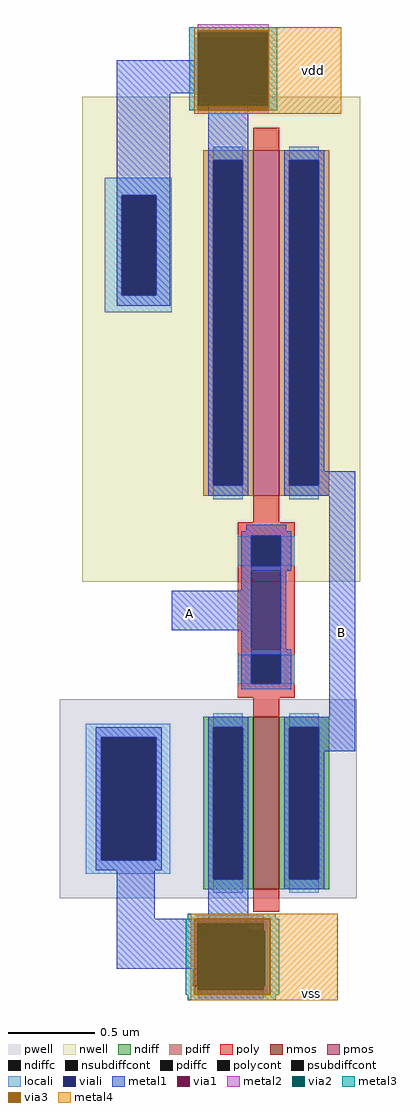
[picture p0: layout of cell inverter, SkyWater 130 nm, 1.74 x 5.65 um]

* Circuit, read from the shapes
.subckt inverter vdd A B vss
XM1 B A vss vss sky130_fd_pr__nfet_01v8 w=1 l=0.15
XM2 B A vdd vdd sky130_fd_pr__pfet_01v8 w=2 l=0.15
.ends

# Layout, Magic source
magic
tech sky130A
magscale 1 2
<< nwell >>
rect -596 2790 -482 2850
rect -596 2590 -474 2790
rect -596 2288 -482 2590
<< pwell >>
rect -622 1922 -278 2152
<< psubdiffcont >>
rect -574 1966 -510 2108
<< nsubdiffcont >>
rect -550 2620 -510 2736
<< poly >>
rect -416 2220 -350 2296
<< locali >>
rect -570 2736 -492 2756
rect -570 2620 -550 2736
rect -510 2620 -492 2736
rect -570 2600 -492 2620
rect -592 2108 -494 2124
rect -592 1966 -574 2108
rect -510 1966 -494 2108
rect -592 1950 -494 1966
<< viali >>
rect -550 2620 -510 2736
rect -400 2170 -366 2342
rect -574 1966 -510 2108
<< metal1 >>
rect -466 2892 -456 2918
rect -556 2854 -456 2892
rect -556 2736 -494 2854
rect -466 2852 -456 2854
rect -392 2852 -382 2918
rect -450 2788 -404 2852
rect -556 2620 -550 2736
rect -510 2620 -494 2736
rect -556 2608 -494 2620
rect -316 2388 -280 2416
rect -406 2342 -360 2354
rect -406 2302 -400 2342
rect -412 2278 -400 2302
rect -492 2232 -400 2278
rect -412 2210 -400 2232
rect -406 2170 -400 2210
rect -366 2170 -360 2342
rect -406 2164 -360 2170
rect -310 2132 -280 2388
rect -580 2108 -504 2120
rect -580 1966 -574 2108
rect -510 1966 -504 2108
rect -316 2092 -280 2132
rect -580 1954 -504 1966
rect -556 1898 -512 1954
rect -450 1898 -404 1932
rect -556 1884 -404 1898
rect -556 1840 -458 1884
rect -468 1820 -458 1840
rect -394 1820 -384 1884
<< via1 >>
rect -456 2852 -392 2918
rect -458 1820 -394 1884
<< metal2 >>
rect -462 2924 -380 2934
rect -462 2830 -380 2840
rect -462 1892 -386 1902
rect -462 1806 -386 1816
<< via2 >>
rect -462 2918 -380 2924
rect -462 2852 -456 2918
rect -456 2852 -392 2918
rect -392 2852 -380 2918
rect -462 2840 -380 2852
rect -462 1884 -386 1892
rect -462 1820 -458 1884
rect -458 1820 -394 1884
rect -394 1820 -386 1884
rect -462 1816 -386 1820
<< metal3 >>
rect -472 2926 -370 2930
rect -472 2834 -462 2926
rect -380 2834 -370 2926
rect -474 1898 -372 1904
rect -476 1810 -466 1898
rect -378 1810 -368 1898
rect -474 1804 -372 1810
<< via3 >>
rect -462 2924 -380 2926
rect -462 2840 -380 2924
rect -462 2834 -380 2840
rect -466 1892 -378 1898
rect -466 1816 -462 1892
rect -462 1816 -386 1892
rect -386 1816 -378 1892
rect -466 1810 -378 1816
<< metal4 >>
rect -466 2926 -296 2930
rect -466 2834 -462 2926
rect -380 2834 -296 2926
rect -466 2830 -296 2834
rect -470 1898 -300 1904
rect -470 1810 -466 1898
rect -378 1810 -300 1898
rect -470 1804 -300 1810
use sky130_fd_pr__pfet_01v8_L4T9AL  sky130_fd_pr__pfet_01v8_L4T9AL_0
transform 1 0 -383 0 1 2552
box -109 -264 109 298
use sky130_fd_pr__nfet_01v8_UPT43B  sky130_fd_pr__nfet_01v8_UPT43B_0
transform 1 0 -383 0 1 2063
box -73 -157 73 157
<< labels >>
flabel metal4 -328 2880 -328 2880 0 FreeSans 1600 0 0 0 vdd
port 0 nsew
flabel metal1 -472 2252 -472 2252 0 FreeSans 1600 0 0 0 A
port 1 nsew
flabel metal1 -296 2230 -296 2230 0 FreeSans 1600 0 0 0 B
port 2 nsew
flabel metal4 -330 1812 -330 1812 0 FreeSans 1600 0 0 0 vss
port 3 nsew
<< end >>

# cell sky130_fd_pr__pfet_01v8_L4T9AL: kit device sky130_fd_pr__pfet_01v8, w 2 l 0.15 m 1 nf 1 diffcov 100 polycov 100 guard 0 glc 1 grc 1 gtc 1 gbc 1 tbcov 100 rlcov 100 topc 0 botc 1 poverlap 0 doverlap 1 lmin 0.15 wmin 0.42 compatible {sky130_fd_pr__pfet_01v8 sky130_fd_pr__pfet_01v8_lvt sky130_fd_pr__pfet_01v8_hvt sky130_fd_pr__pfet_g5v0d10v5} full_metal 1 viasrc 100 viadrn 100 viagate 100 viagb 0 viagr 0 viagl 0 viagt 0

# cell sky130_fd_pr__nfet_01v8_UPT43B: kit device sky130_fd_pr__nfet_01v8, w 1 l 0.150 m 1 nf 1 diffcov 100 polycov 100 guard 0 glc 1 grc 1 gtc 1 gbc 1 tbcov 100 rlcov 100 topc 1 botc 0 poverlap 0 doverlap 1 lmin 0.15 wmin 0.42 compatible {sky130_fd_pr__nfet_01v8 sky130_fd_pr__nfet_01v8_lvt sky130_fd_bs_flash__special_sonosfet_star sky130_fd_pr__nfet_g5v0d10v5 sky130_fd_pr__nfet_05v0_nvt sky130_fd_pr__nfet_03v3_nvt} full_metal 1 viasrc 100 viadrn 100 viagate 100 viagb 0 viagr 0 viagl 0 viagt 0
